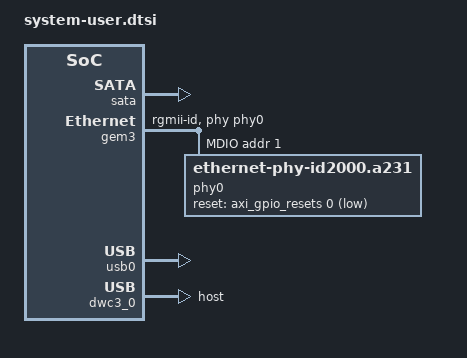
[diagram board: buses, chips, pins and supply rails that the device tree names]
#include <dt-bindings/net/ti-dp83867.h>

#include <dt-bindings/gpio/gpio.h>
#include <dt-bindings/net/ti-dp83867.h>
#include <dt-bindings/phy/phy.h>
#include <dt-bindings/pinctrl/pinctrl-zynqmp.h>

/ {
chosen {
	bootargs = " earlycon console=ttyPS0,115200 clk_ignore_unused root=/dev/mmcblk1p2 rw rootwait ";
	stdout-path = "serial0:115200n8";
	};	
};

&sdhci1 {
 disable-wp;
 no-1-8-v;
};

&sata {
	ceva,p0-burst-params = /bits/ 8 <0x13 0x08 0x4A 0x06>;
	ceva,p0-cominit-params = /bits/ 8 <0x18 0x40 0x18 0x28>;
	ceva,p0-comwake-params = /bits/ 8 <0x06 0x14 0x08 0x0E>;
	ceva,p0-retry-params = /bits/ 16 <0x96A4 0x3FFC>;
	ceva,p1-burst-params = /bits/ 8 <0x13 0x08 0x4A 0x06>;
	ceva,p1-cominit-params = /bits/ 8 <0x18 0x40 0x18 0x28>;
	ceva,p1-comwake-params = /bits/ 8 <0x06 0x14 0x08 0x0E>;
	ceva,p1-retry-params = /bits/ 16 <0x96A4 0x3FFC>;
	status = "okay";
	xlnx,tz-nonsecure-sata0 = <0x0>;
	xlnx,tz-nonsecure-sata1 = <0x0>;
};

&gem3 { /* required by spec */
	status = "okay";
	//pinctrl-names = "default";
	//pinctrl-0 = <&pinctrl_gem3_default>;
	phy-handle = <&phy0>;
	phy-mode = "rgmii-id";

	mdio: mdio {
		#address-cells = <1>;
		#size-cells = <0>;

		phy0: ethernet-phy@1 {
			#phy-cells = <1>;
			reg = <1>;
			compatible = "ethernet-phy-id2000.a231";
			ti,rx-internal-delay = <DP83867_RGMIIDCTL_2_25_NS>;
			ti,tx-internal-delay = <DP83867_RGMIIDCTL_2_75_NS>;
			ti,fifo-depth = <DP83867_PHYCR_FIFO_DEPTH_4_B_NIB>;
			ti,dp83867-rxctrl-strap-quirk;
			reset-assert-us = <100>;
			reset-deassert-us = <280>;
			reset-gpios = <&axi_gpio_resets 0 GPIO_ACTIVE_LOW>;
		};
	};
};


&usb0 {
  status = "okay";
};

&dwc3_0 {
    status = "okay";
    dr_mode = "host";
};
